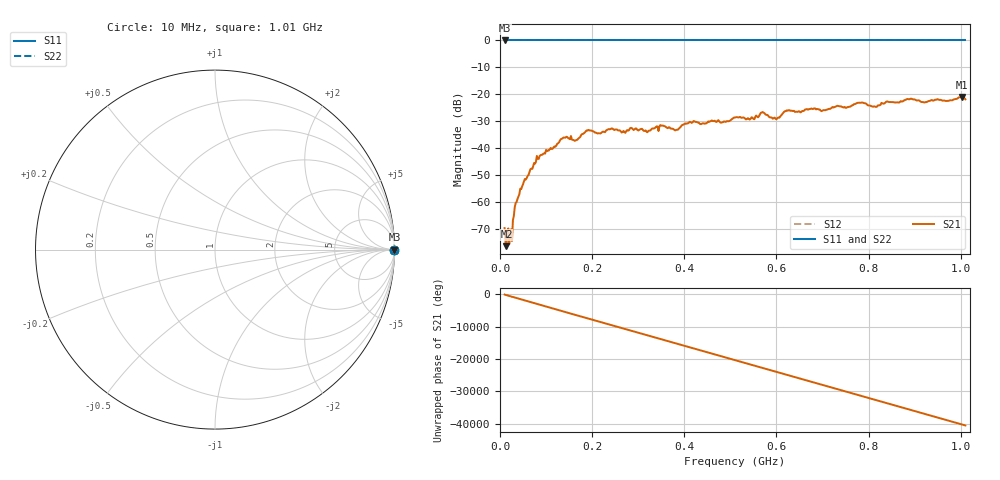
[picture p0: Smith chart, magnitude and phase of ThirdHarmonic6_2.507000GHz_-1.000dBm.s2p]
! 8/17/2025 4:50:59 AM
! C:\ANRITSUVNA\TEMP\TEMP.S2P
! CHANNEL.1
! TR.MEASUREMENT
! RAW.DATA
! RF.CORRECTION.OFF
! AVERAGING.OFF
! IF.BANDWIDTH: 5KHZ
! SWEEPTYPE:  FREQ.SWEEP(Linear)
! Reference Plane Port Info
! PORT:  PORT1  PORT2
! DISTANCE:  0  m  0  m
! TIME:  0  s  0  s
! PHASE.OFFSET:  0  deg.  0  deg.
! LOSS:  0  dB  0  dB
! REF.LOSS:  0  dB  0  dB
! REF.FREQ:  0  Hz  0  Hz
! Power Info
! POWER:  -20  dBm  -20  dBm
! EFF.POWER:  -20  dBm  -20  dBm
! SOURCE.ATTEN:  0  dB  0  dB
! TEST.ATTEN:  0  dB  0  dB
# GHZ S RI R 50.0
! FREQ.GHZ  S11RE  S11IM  S21RE  S21IM  S12RE  S12IM  S22RE  S22IM
!; PortSelection: Port_12
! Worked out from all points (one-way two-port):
!   501 points, 10 MHz to 1.01 GHz, reference 50 ohm
!   highest |S21| = -21.05 dB at 1.002 GHz (marker M1); lowest = -76.4 dB at 14 MHz (marker M2)
!   lowest |S11| = 0.0 dB at 10 MHz (marker M3)
!   |S11| at or under -10 dB: nowhere
!   |S22| runs from 0.0 to 0.0 dB; largest |S21 - S12| = 1.1
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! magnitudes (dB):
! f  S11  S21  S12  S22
! 10 MHz  0.0  -69.7  0.0  0.0
! 14 MHz  0.0  -76.4  0.0  0.0
! 24 MHz  0.0  -70.2  0.0  0.0
! 34 MHz  0.0  -60.4  0.0  0.0
! 48 MHz  0.0  -54.2  0.0  0.0
! 84 MHz  0.0  -44.0  0.0  0.0
! 136 MHz  0.0  -36.3  0.0  0.0
! 164 MHz  0.0  -37.1  0.0  0.0
! 178 MHz  0.0  -34.8  0.0  0.0
! 192 MHz  0.0  -33.2  0.0  0.0
! 344 MHz  0.0  -33.7  0.0  0.0
! 382 MHz  0.0  -33.3  0.0  0.0
! 416 MHz  0.0  -30.6  0.0  0.0
! 510 MHz  0.0  -28.7  0.0  0.0
! 548 MHz  0.0  -28.7  0.0  0.0
! 570 MHz  0.0  -26.6  0.0  0.0
! 602 MHz  0.0  -28.8  0.0  0.0
! 622 MHz  0.0  -26.0  0.0  0.0
! 678 MHz  0.0  -25.5  0.0  0.0
! 844 MHz  0.0  -22.9  0.0  0.0
! 1.002 GHz  0.0  -21.0  0.0  0.0
! 1.01 GHz  0.0  -21.9  0.0  0.0
